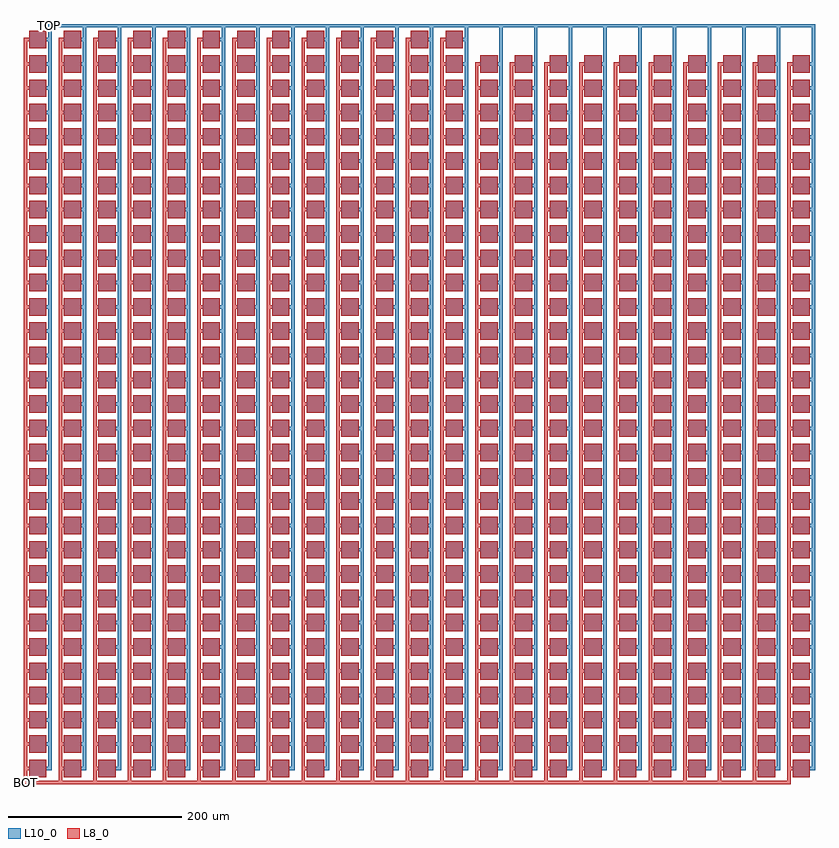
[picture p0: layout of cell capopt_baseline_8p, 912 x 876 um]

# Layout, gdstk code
import gdstk
lib = gdstk.Library(unit=1e-6, precision=1e-09)
def R(c, l, rs):  # rectangles x0, y0, x1, y1
    for r in rs: c.add(gdstk.rectangle(r[:2], r[2:], *l))
def A(c, l, x, y, w, h, nx, ny, dx, dy):  # array of equal rectangles
    R(c, l, [(x+i*dx, y+j*dy, x+i*dx+w, y+j*dy+h) for i in range(nx) for j in range(ny)])
L8_0 = (8, 0)
L10_0 = (10, 0)

capopt_baseline_8p = lib.new_cell('capopt_baseline_8p')
A(capopt_baseline_8p, L8_0, -6, -8, 4, 860, 13, 1, 40, 0)
A(capopt_baseline_8p, L8_0, 514, -8, 4, 832, 10, 1, 40, 0)
A(capopt_baseline_8p, L8_0, 0, 0, 20, 20, 23, 30, 40, 28)
A(capopt_baseline_8p, L8_0, -6, 8, 6, 4, 23, 30, 40, 28)
A(capopt_baseline_8p, L8_0, 0, 840, 20, 20, 13, 1, 40, 0)
A(capopt_baseline_8p, L8_0, -6, 848, 6, 4, 13, 1, 40, 0)
R(capopt_baseline_8p, L8_0, [(-6,-8,878,-4)])
A(capopt_baseline_8p, L10_0, 0, 0, 20, 20, 23, 30, 40, 28)
A(capopt_baseline_8p, L10_0, 20, 8, 6, 4, 23, 30, 40, 28)
A(capopt_baseline_8p, L10_0, 22, 8, 4, 860, 23, 1, 40, 0)
A(capopt_baseline_8p, L10_0, 0, 840, 20, 20, 13, 1, 40, 0)
A(capopt_baseline_8p, L10_0, 20, 848, 6, 4, 13, 1, 40, 0)
R(capopt_baseline_8p, L10_0, [(22,864,906,868)])
capopt_baseline_8p.add(gdstk.Label('BOT', (-4,-6), layer=8, texttype=7))
capopt_baseline_8p.add(gdstk.Label('TOP', (24,866), layer=10, texttype=7))

lib.write_gds('capopt_baseline_8p.gds')
